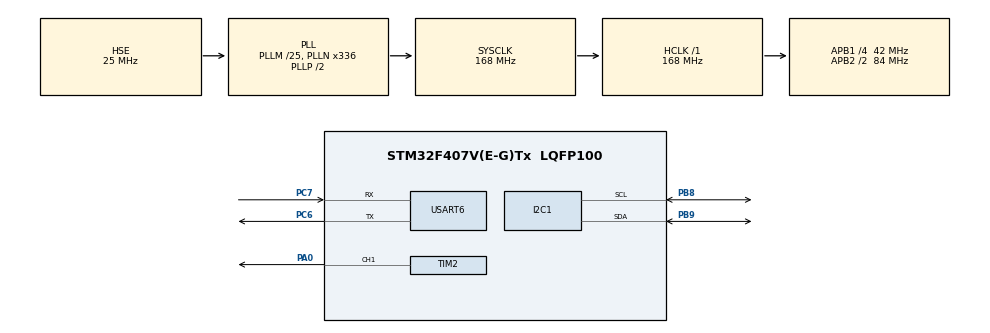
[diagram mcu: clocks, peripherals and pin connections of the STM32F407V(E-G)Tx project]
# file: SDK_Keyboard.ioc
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Mcu.Family=STM32F4
RCC.PLLSourceVirtual=RCC_PLLSOURCE_HSE
PH0-OSC_IN.Signal=RCC_OSC_IN
RCC.CortexFreq_Value=168000000
PC6.Signal=USART6_TX
RCC.APB1CLKDivider=RCC_HCLK_DIV4
RCC.SYSCLKSource=RCC_SYSCLKSOURCE_PLLCLK
ProjectManager.StackSize=0x400
PA0-WKUP.Signal=S_TIM2_CH1_ETR
PA13.Signal=SYS_JTMS-SWDIO
ProjectManager.TargetToolchain=STM32CubeIDE
PC6.Mode=Asynchronous
RCC.HCLKFreq_Value=168000000
PB9.Mode=I2C
RCC.APB2TimFreq_Value=168000000
PC7.Signal=USART6_RX
RCC.LSE_VALUE=32768
RCC.AHBFreq_Value=168000000
PH0-OSC_IN.Mode=HSE-External-Oscillator
RCC.HSE_VALUE=25000000
PB3.Mode=JTAG_5_pins
board=custom
RCC.VCOOutputFreq_Value=336000000
PA15.Mode=JTAG_5_pins
RCC.APB2Freq_Value=84000000
PB4.Mode=JTAG_5_pins
PA14.Mode=JTAG_5_pins
NVIC.TIM2_IRQn=true\:0\:0\:false\:false\:true\:true\:true
PH1-OSC_OUT.Signal=RCC_OSC_OUT
TIM2.Channel-PWM\ Generation1\ CH1=TIM_CHANNEL_1
PA13.Mode=JTAG_5_pins
Mcu.Name=STM32F407V(E-G)Tx
PH1-OSC_OUT.Mode=HSE-External-Oscillator
RCC.48MHZClocksFreq_Value=84000000
PB3.Signal=SYS_JTDO-SWO
RCC.SYSCLKFreq_VALUE=168000000
Mcu.Package=LQFP100
PB9.Signal=I2C1_SDA
USART6.VirtualMode=VM_ASYNC
SH.S_TIM2_CH1_ETR.0=TIM2_CH1,PWM Generation1 CH1
PA14.Signal=SYS_JTCK-SWCLK
PA15.Signal=SYS_JTDI
ProjectManager.HeapSize=0x200
RCC.HSI_VALUE=16000000
NVIC.PriorityGroup=NVIC_PRIORITYGROUP_4
RCC.APB2CLKDivider=RCC_HCLK_DIV2
RCC.PLLM=25
PB8.Mode=I2C
RCC.PLLN=336
RCC.APB1TimFreq_Value=84000000
PB8.Signal=I2C1_SCL
PC7.Mode=Asynchronous
RCC.APB1Freq_Value=42000000
PB4.Signal=SYS_JTRST

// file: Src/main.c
/* USER CODE BEGIN Header */
/**
  ******************************************************************************
  * @file           : main.c
  * @brief          : Main program body
  ******************************************************************************
  * @attention
  *
  * <h2><center>&copy; Copyright (c) 2019 STMicroelectronics.
  * All rights reserved.</center></h2>
  *
  * This software component is licensed by ST under BSD 3-Clause license,
  * the "License"; You may not use this file except in compliance with the
  * License. You may obtain a copy of the License at:
  *                        opensource.org/licenses/BSD-3-Clause
  *
  ******************************************************************************
  */
/* USER CODE END Header */
#include "main.h"
#include "i2c.h"
#include "usart.h"
#include "gpio.h"
#include "tim.h"

/* USER CODE BEGIN Includes */
#include "kb.h"
#include "sdk_uart.h"
#include "pca9538.h"
#include "oled.h"
#include "fonts.h"
#include "buzzer.h"
/* USER CODE END Includes */

void SystemClock_Config(void);
/* USER CODE BEGIN PFP */
void KB_Test( uint64_t* ass, uint8_t* mode, uint8_t* lastkey );
void oled_Reset( void );
/* USER CODE END PFP */

int main(void)
{
  /* USER CODE BEGIN 1 */
	uint32_t zelda_melody[] = {
			N_AS4, 0, 0, N_AS4, N_AS4, N_AS4, N_AS4, N_AS4, 0, N_GS4, N_AS4, 0, 0, N_AS4, N_AS4, N_AS4, N_AS4, N_AS4, 0, N_GS4, N_AS4, 0, 0, N_AS4, N_AS4, N_AS4, N_AS4, N_AS4, N_F3, N_F3, N_F3, N_F3, N_F3, N_F3, N_F3, N_F3, N_F3, N_F3, N_AS4, N_F3, N_F3, 0, N_AS4, N_AS4, N_C5, N_D5, N_DS5, N_F5, 0, N_F5, N_F5, N_FS5, N_GS5, N_AS5, 0, N_AS5, N_AS5, N_AS5, N_GS5, N_FS5, N_GS5, 0, N_FS5, N_F5, N_F5, N_DS5, N_DS5, N_F5, N_FS5, N_F5, N_DS5, N_CS5, N_CS5, N_DS5, N_F5, N_DS5, N_CS5, N_C5, N_C5, N_D5, N_E5, N_G5, N_F5, N_F3, N_F3, N_F3, N_F3, N_F3, N_F3, N_F3, N_F3, N_F3, N_F3, N_AS4, N_F3, N_F3, 0, N_AS4, N_AS4, N_C5, N_D5, N_DS5, N_F5, 0, N_F5, N_F5, N_FS5, N_GS5, N_AS5, 0, N_CS6, N_C6, N_A5, 0, N_F5, N_FS5, 0, N_AS5, N_A5, N_F5, 0, N_F5, N_FS5, 0, N_AS5, N_A5, N_F5, 0, N_D5, N_DS5, 0, N_FS5, N_F5, N_CS5, 0, N_AS4, N_C5, N_C5, N_D5, N_E5, 0, N_G5, N_F5, N_F3, N_F3, N_F3, N_F3, N_F3, N_F3, N_F3, N_F3, N_F3, N_F3, N_AS4, N_F3, N_F3, 0, N_AS4, N_AS4, N_C5, N_D5, N_DS5, N_F5, 0, N_F5, N_F5, N_FS5, N_GS5, N_AS5, 0, N_AS5, N_AS5, N_AS5, N_GS5, N_FS5, N_GS5, 0, N_FS5, N_F5, N_F5, N_DS5, N_DS5, N_F5, N_FS5, N_F5, N_DS5, N_CS5, N_CS5, N_DS5, N_F5, N_DS5, N_CS5, N_C5, N_C5, N_D5, N_E5, N_G5, N_F5, N_F3, N_F3, N_F3, N_F3, N_F3, N_F3, N_F3, N_F3, N_F3, N_F3, N_AS4, N_F3, N_F3, 0, N_AS4, N_AS4, N_C5, N_D5, N_DS5, N_F5, 0, N_F5, N_F5, N_FS5, N_GS5, N_AS5, 0, N_CS6, N_C6, N_A5, 0, N_F5, N_FS5, 0, N_AS5, N_A5, N_F5, 0, N_F5, N_FS5, 0, N_AS5, N_A5, N_F5, 0, N_D5, N_DS5, 0, N_FS5, N_F5, N_CS5, 0, N_AS4, N_C5, N_C5, N_D5, N_E5, 0, N_G5, N_F5, N_F3, N_F3, N_F3, N_F3, N_F3, N_F3, N_F3, N_F3, N_F3, N_F3
	};
	uint32_t zelda_delays[] = {
			2, 8, 8, 8, 8, 8, 8, 6, 16, 16, 4, 8, 8, 8, 8, 8, 8, 6, 16, 16, 4, 8, 8, 8, 8, 8, 8, 8, 16, 16, 8, 16, 16, 8, 16, 16, 8, 8, 4, 4, 6, 16, 16, 16, 16, 16, 16, 2, 8, 8, 8 ,8 ,8, 2, 8, 8, 8 ,8 ,8, 8, 6, 16, 16, 2, 4, 8, 16, 16, 2, 8, 8, 8, 16, 16, 2, 8, 8, 8, 16, 16, 2, 4, 8, 16, 16, 8, 16, 16, 8, 16, 16, 8, 8, 4, 4, 6, 16, 16, 16, 16, 16, 16, 2, 8, 8, 8 ,8 ,8, 2, 4, 4, 4, 4, 4, 4, 2, 4, 4, 4, 4, 4, 4, 2, 4, 4, 4, 4, 4, 4, 2, 4, 4, 4, 4, 4, 4, 8, 16, 16, 4, 4, 4, 8, 16, 16, 8, 16, 16, 8, 16, 16, 8, 8, 4, 4, 6, 16, 16, 16, 16, 16, 16, 2, 8, 8, 8 ,8 ,8, 2, 8, 8, 8 ,8 ,8, 8, 6, 16, 16, 2, 4, 8, 16, 16, 2, 8, 8, 8, 16, 16, 2, 8, 8, 8, 16, 16, 2, 4, 8, 16, 16, 8, 16, 16, 8, 16, 16, 8, 8, 4, 4, 6, 16, 16, 16, 16, 16, 16, 2, 8, 8, 8 ,8 ,8, 2, 4, 4, 4, 4, 4, 4, 2, 4, 4, 4, 4, 4, 4, 2, 4, 4, 4, 4, 4, 4, 2, 4, 4, 4, 4, 4, 4, 8, 16, 16, 4, 4, 4, 8, 16, 16, 8, 16, 16, 8, 16, 16, 8, 8
	};

  /* USER CODE END 1 */

  /* MCU Configuration--------------------------------------------------------*/

  /* Reset of all peripherals, Initializes the Flash interface and the Systick. */
  HAL_Init();

  /* Configure the system clock */
  SystemClock_Config();

  /* Initialize all configured peripherals */
  MX_GPIO_Init();
  MX_I2C1_Init();
  MX_USART6_UART_Init();
  MX_TIM2_Init();
  /* USER CODE BEGIN 2 */
  oled_Init();
  Buzzer_Init();

  /* USER CODE END 2 */

  /* Infinite loop */
  /* USER CODE BEGIN WHILE */
  uint64_t ass = 0;
  uint8_t mode = 0;
  uint8_t lastkey = 255;
  while (1)
  {

    /* USER CODE END WHILE */

    /* USER CODE BEGIN 3 */

	  KB_Test(&ass, &mode, &lastkey);
//	  ass += 1;
	  if (mode == 0){
		  HAL_Delay(5);
	  }else{
		  ass-=1;
		  HAL_Delay(900);
		  if (ass <= 0){
			  ass = 0;
			  mode = 0;
			  KB_Test(&ass, &mode, &lastkey);
			  Buzzer_Play(zelda_melody, zelda_delays, sizeof(zelda_melody) / sizeof(uint32_t));
		  }
	  }
  }
  /* USER CODE END 3 */
}

void SystemClock_Config(void)
{
  RCC_OscInitTypeDef RCC_OscInitStruct = {0};
  RCC_ClkInitTypeDef RCC_ClkInitStruct = {0};

  /** Configure the main internal regulator output voltage
  */
  __HAL_RCC_PWR_CLK_ENABLE();
  __HAL_PWR_VOLTAGESCALING_CONFIG(PWR_REGULATOR_VOLTAGE_SCALE1);
  /** Initializes the RCC Oscillators according to the specified parameters
  * in the RCC_OscInitTypeDef structure.
  */
  RCC_OscInitStruct.OscillatorType = RCC_OSCILLATORTYPE_HSE;
  RCC_OscInitStruct.HSEState = RCC_HSE_ON;
  RCC_OscInitStruct.PLL.PLLState = RCC_PLL_ON;
  RCC_OscInitStruct.PLL.PLLSource = RCC_PLLSOURCE_HSE;
  RCC_OscInitStruct.PLL.PLLM = 25;
  RCC_OscInitStruct.PLL.PLLN = 336;
  RCC_OscInitStruct.PLL.PLLP = RCC_PLLP_DIV2;
  RCC_OscInitStruct.PLL.PLLQ = 4;
  if (HAL_RCC_OscConfig(&RCC_OscInitStruct) != HAL_OK)
  {
    Error_Handler();
  }
  /** Initializes the CPU, AHB and APB buses clocks
  */
  RCC_ClkInitStruct.ClockType = RCC_CLOCKTYPE_HCLK|RCC_CLOCKTYPE_SYSCLK
                              |RCC_CLOCKTYPE_PCLK1|RCC_CLOCKTYPE_PCLK2;
  RCC_ClkInitStruct.SYSCLKSource = RCC_SYSCLKSOURCE_PLLCLK;
  RCC_ClkInitStruct.AHBCLKDivider = RCC_SYSCLK_DIV1;
  RCC_ClkInitStruct.APB1CLKDivider = RCC_HCLK_DIV4;
  RCC_ClkInitStruct.APB2CLKDivider = RCC_HCLK_DIV2;

  if (HAL_RCC_ClockConfig(&RCC_ClkInitStruct, FLASH_LATENCY_5) != HAL_OK)
  {
    Error_Handler();
  }
}
uint8_t KeyboardIndex(uint8_t a){
	uint8_t res=255;
	switch(a){
	case 99:
		res = 1;
		break;
	case 83:
		res = 2;
		break;
	case 51:
		res = 3;
		break;
	case 98:
		res = 4;
		break;
	case 82:
		res = 5;
		break;
	case 50:
		res = 6;
		break;
	case 97:
		res = 7;
		break;
	case 81:
		res = 8;
		break;
	case 49:
		res = 9;
		break;
	case 96:
		res = 11;
		break;
	case 80:
		res = 0;
		break;
	case 48:
		res = 12;
		break;
	}
	return res;
}
/* USER CODE BEGIN 4 */
void KB_Test( uint64_t* ass, uint8_t* mode, uint8_t* lastkey) {
	UART_Transmit( (uint8_t*)"KB test start\n" );
	uint8_t R = 0, C = 0, L = 0, Row[4] = {0xF7, 0x7B, 0x3D, 0x1E}, Key, OldKey, OLED_Keys[12] = {0x30,0x30,0x30,0x30,0x30,0x30,0x30,0x30,0x30,0x30,0x30,0x30};
	oled_Reset();
	oled_SetCursor(0, 0);
	char p[17];
	char k[17];

	char third[512];
	uint8_t index = KeyboardIndex(Check_Row());

	if(index!=255 && *lastkey!=index){

		if(*mode == 0){
			if(index==11){
				*ass = 0;
			}
			else if(index<10){
				*ass = *ass*10+index;
			}else if(index == 12){
				*mode=1;
			}
		}
		else if(*mode == 1){
			if(index==11){
				*ass = 0;
				*mode = 0;
			}
			if(index==12){
				*mode = 0;
			}
		}
	}
	*lastkey = index;
	itoa(*ass, p, 10);

    snprintf(third, sizeof third, "%s %i", "UberTimer:", *ass);
	oled_WriteString(third, Font_7x10, White);
	oled_UpdateScreen();
}

void oled_Reset( void ) {
	oled_Fill(Black);
	oled_SetCursor(0, 0);
}
/* USER CODE END 4 */

void Error_Handler(void)
{
}

/************************ (C) COPYRIGHT STMicroelectronics *****END OF FILE****/
